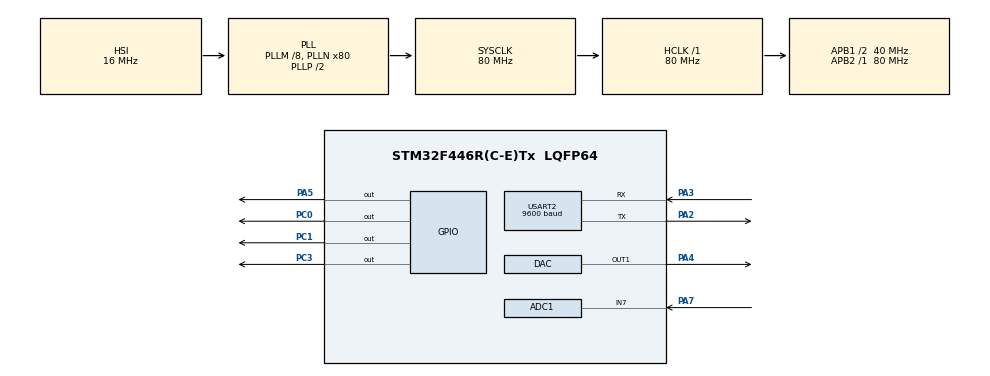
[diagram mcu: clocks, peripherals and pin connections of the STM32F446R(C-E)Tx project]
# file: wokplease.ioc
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ADC1.Channel-0\#ChannelRegularConversion=ADC_CHANNEL_7
ADC1.ExternalTrigConv=ADC_EXTERNALTRIGCONV_T3_TRGO
ADC1.NbrOfConversionFlag=1
ADC1.Rank-0\#ChannelRegularConversion=1
ADC1.SamplingTime-0\#ChannelRegularConversion=ADC_SAMPLETIME_3CYCLES
ADC1.master=1
DAC.DAC_Trigger=DAC_TRIGGER_T2_TRGO
Dma.DAC1.0.Direction=DMA_MEMORY_TO_PERIPH
Dma.DAC1.0.FIFOMode=DMA_FIFOMODE_DISABLE
Dma.DAC1.0.Instance=DMA1_Stream5
Dma.DAC1.0.MemDataAlignment=DMA_MDATAALIGN_WORD
Dma.DAC1.0.MemInc=DMA_MINC_DISABLE
Dma.DAC1.0.Mode=DMA_NORMAL
Dma.DAC1.0.PeriphDataAlignment=DMA_PDATAALIGN_WORD
Dma.DAC1.0.PeriphInc=DMA_PINC_DISABLE
Dma.DAC1.0.Priority=DMA_PRIORITY_HIGH
Dma.Request0=DAC1
Mcu.Family=STM32F4
Mcu.Name=STM32F446R(C-E)Tx
Mcu.Package=LQFP64
NVIC.ADC_IRQn=true\:0\:0\:false\:false\:true\:true\:true\:true
NVIC.DMA1_Stream5_IRQn=true\:0\:0\:false\:false\:true\:false\:true\:true
NVIC.PriorityGroup=NVIC_PRIORITYGROUP_4
PA13.Mode=Serial_Wire
PA13.Signal=SYS_JTMS-SWDIO
PA14.Mode=Serial_Wire
PA14.Signal=SYS_JTCK-SWCLK
PA2.Mode=Asynchronous
PA2.Signal=USART2_TX
PA3.Mode=Asynchronous
PA3.Signal=USART2_RX
PA4.Signal=COMP_DAC1_group
PA5.PinState=GPIO_PIN_RESET
PA5.Signal=GPIO_Output
PA7.Signal=ADCx_IN7
PC0.GPIO_PuPd=GPIO_NOPULL
PC0.Signal=GPIO_Output
PC1.Signal=GPIO_Output
PC3.Signal=GPIO_Output
ProjectManager.HeapSize=0x200
ProjectManager.StackSize=0x400
ProjectManager.TargetToolchain=STM32CubeIDE
RCC.AHBFreq_Value=80000000
RCC.APB1CLKDivider=RCC_HCLK_DIV2
RCC.APB1Freq_Value=40000000
RCC.APB1TimFreq_Value=80000000
RCC.APB2Freq_Value=80000000
RCC.APB2TimFreq_Value=80000000
RCC.CortexFreq_Value=80000000
RCC.HCLKFreq_Value=80000000
RCC.PLLM=8
RCC.PLLN=80
RCC.SYSCLKFreq_VALUE=80000000
RCC.SYSCLKSource=RCC_SYSCLKSOURCE_PLLCLK
RCC.USBFreq_Value=80000000
RCC.VCOOutputFreq_Value=160000000
SH.ADCx_IN7.0=ADC1_IN7,IN7
SH.COMP_DAC1_group.0=DAC_OUT1,DAC_OUT1
TIM2.Period=499
TIM2.TIM_MasterOutputTrigger=TIM_TRGO_UPDATE
TIM3.Period=499
TIM3.TIM_MasterOutputTrigger=TIM_TRGO_UPDATE
USART2.BaudRate=9600
USART2.VirtualMode=VM_ASYNC
VP_TIM2_VS_ClockSourceINT.Mode=Internal
VP_TIM3_VS_ClockSourceINT.Mode=Internal
board=custom

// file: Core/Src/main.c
/* USER CODE BEGIN Header */
/**
  ******************************************************************************
  * @file           : main.c
  * @brief          : Main program body
  ******************************************************************************
  * @attention
  *
  * Copyright (c) 2025 STMicroelectronics.
  * All rights reserved.
  *
  * This software is licensed under terms that can be found in the LICENSE file
  * in the root directory of this software component.
  * If no LICENSE file comes with this software, it is provided AS-IS.
  *
  ******************************************************************************
  */
/* USER CODE END Header */
#include "main.h"

/* USER CODE BEGIN Includes */
#include "math.h"
#include <string.h>
/* USER CODE END Includes */

/* USER CODE BEGIN PD */
#define MasSize 416
#define ADCIn (MasSize + 200)
/* USER CODE END PD */

ADC_HandleTypeDef hadc1;

DAC_HandleTypeDef hdac;
DMA_HandleTypeDef hdma_dac1;

TIM_HandleTypeDef htim2;
TIM_HandleTypeDef htim3;

UART_HandleTypeDef huart2;

/* USER CODE BEGIN PV */
const uint32_t Bark[MasSize] = {1736,2075,2400,2700,2964,3179,3340,3439,3472,3439,3340,3179,2964,2700,2400,2075,1736,1397,1072,772,508,293,132,33,0,33,132,293,508,772,1072,1397,1736,2075,2400,2700,2964,3179,3340,3439,3472,3439,3340,3179,2964,2700,2400,2075,1736,1397,1072,772,508,293,132,33,0,33,132,293,508,772,1072,1397,1736,2075,2400,2700,2964,3179,3340,3439,3472,3439,3340,3179,2964,2700,2400,2075,1736,1397,1072,772,508,293,132,33,0,33,132,293,508,772,1072,1397,1736,2075,2400,2700,2964,3179,3340,3439,3472,3439,3340,3179,2964,2700,2400,2075,1736,1397,1072,772,508,293,132,33,0,33,132,293,508,772,1072,1397,1736,2075,2400,2700,2964,3179,3340,3439,3472,3439,3340,3179,2964,2700,2400,2075,1736,1397,1072,772,508,293,132,33,0,33,132,293,508,772,1072,1397,1736,1397,1072,772,508,293,132,33,0,33,132,293,508,772,1072,1397,1736,2075,2400,2700,2964,3179,3340,3439,3472,3439,3340,3179,2964,2700,2400,2075,1736,1397,1072,772,508,293,132,33,0,33,132,293,508,772,1072,1397,1736,2075,2400,2700,2964,3179,3340,3439,3472,3439,3340,3179,2964,2700,2400,2075,1736,2075,2400,2700,2964,3179,3340,3439,3472,3439,3340,3179,2964,2700,2400,2075,1736,1397,1072,772,508,293,132,33,0,33,132,293,508,772,1072,1397,1736,2075,2400,2700,2964,3179,3340,3439,3472,3439,3340,3179,2964,2700,2400,2075,1736,1397,1072,772,508,293,132,33,0,33,132,293,508,772,1072,1397,1736,1397,1072,772,508,293,132,33,0,33,132,293,508,772,1072,1397,1736,2075,2400,2700,2964,3179,3340,3439,3472,3439,3340,3179,2964,2700,2400,2075,1736,2075,2400,2700,2964,3179,3340,3439,3472,3439,3340,3179,2964,2700,2400,2075,1736,1397,1072,772,508,293,132,33,0,33,132,293,508,772,1072,1397,1736,1397,1072,772,508,293,132,33,0,33,132,293,508,772,1072,1397,1736,2075,2400,2700,2964,3179,3340,3439,3472,3439,3340,3179,2964,2700,2400,2075,1736,2075,2400,2700,2964,3179,3340,3439,3472,3439,3340,3179,2964,2700,2400,2075,1736,1397,1072,772,508,293,132,33,0,33,132,293,508,772,1072,1397};

int32_t buff[ADCIn];
uint16_t num = 0;
volatile int32_t corr = 0;
volatile uint16_t distance = 0;
volatile uint8_t adcReady = 0;
uint8_t speakerNum = 0;
volatile uint16_t distances[3] = {0};
unsigned char a, buf[3];
unsigned char micdebug[4];
volatile int32_t debug1 = 0;
/* USER CODE END PV */

void SystemClock_Config(void);
static void MX_GPIO_Init(void);
static void MX_DMA_Init(void);
static void MX_ADC1_Init(void);
static void MX_DAC_Init(void);
static void MX_TIM2_Init(void);
static void MX_TIM3_Init(void);
static void MX_USART2_UART_Init(void);
/* USER CODE BEGIN PFP */
void autocorr(int32_t *mas1, const uint32_t *mas2);
int32_t calculateAverage(int32_t *mas1, int32_t length);
/* USER CODE END PFP */

int main(void)
{

  /* MCU Configuration--------------------------------------------------------*/

  /* Reset of all peripherals, Initializes the Flash interface and the Systick. */
  HAL_Init();

  /* Configure the system clock */
  SystemClock_Config();

  /* Initialize all configured peripherals */
  MX_GPIO_Init();
  MX_DMA_Init();
  MX_ADC1_Init();
  MX_DAC_Init();
  MX_TIM2_Init();
  MX_TIM3_Init();
  MX_USART2_UART_Init();
  /* USER CODE BEGIN 2 */
  // Включаем первый динамик
  HAL_GPIO_WritePin(GPIOC, GPIO_PIN_0, GPIO_PIN_SET);  // speaker 0
  HAL_GPIO_WritePin(GPIOC, GPIO_PIN_1, GPIO_PIN_RESET);
  HAL_GPIO_WritePin(GPIOC, GPIO_PIN_3, GPIO_PIN_RESET);
  HAL_Delay(1000);

  // Запускаем таймеры
  HAL_TIM_Base_Start(&htim2);
  HAL_TIM_Base_Start(&htim3);

  // Запускаем DAC с DMA
  HAL_DAC_Start_DMA(&hdac, DAC_CHANNEL_1, (uint32_t*)Bark, MasSize, DAC_ALIGN_12B_R);

  // Запускаем ADC с прерываниями
  HAL_ADC_Start_IT(&hadc1);

  /* USER CODE END 2 */

  /* Infinite loop */
  /* USER CODE BEGIN WHILE */
  while (1)
  {
	  if (adcReady)
	  {
	      adcReady = 0;

	      // Вычисление постоянной составляющей
	      int32_t mean = calculateAverage(buff, ADCIn);
	      for(uint16_t c = 0; c < ADCIn; c++)
	      {
	          buff[c] = buff[c] - mean;
	      }

	      // Взаимная корреляция
	      autocorr(buff, Bark);

	      distances[speakerNum] = distance;  // Записываем расстояние для текущего динамика
	      num = 0;

	      // ОТПРАВКА ДАННЫХ - ДО увеличения speakerNum
	      if (speakerNum == 2)
	      {
	          // Отправка всех трех расстояний
	          char output[50];
	          sprintf(output, "%d,%d,%d\r\n", distances[0], distances[1], distances[2]);
	          HAL_UART_Transmit(&huart2, (uint8_t*)output, strlen(output), 1000);

	          // СБРАСЫВАЕМ speakerNum после отправки всех трех измерений
	          speakerNum = 0;
	      }
	      else
	      {
	          // УВЕЛ�?Ч�?ВАЕМ speakerNum только если это не последний динамик
	          speakerNum++;
	      }

	      // Переключаем динамики (теперь speakerNum уже обновлен)
	      HAL_GPIO_WritePin(GPIOC, GPIO_PIN_0, GPIO_PIN_RESET);
	      HAL_GPIO_WritePin(GPIOC, GPIO_PIN_1, GPIO_PIN_RESET);
	      HAL_GPIO_WritePin(GPIOC, GPIO_PIN_3, GPIO_PIN_RESET);

	      switch(speakerNum)
	      {
	          case 0: HAL_GPIO_WritePin(GPIOC, GPIO_PIN_0, GPIO_PIN_SET); break;
	          case 1: HAL_GPIO_WritePin(GPIOC, GPIO_PIN_1, GPIO_PIN_SET); break;
	          case 2: HAL_GPIO_WritePin(GPIOC, GPIO_PIN_3, GPIO_PIN_SET); break;
	      }

	      // Переключаем светодиод
	      HAL_GPIO_TogglePin(GPIOA, GPIO_PIN_5);

	      // Перезапускаем DAC и ADC
	      HAL_DAC_Start_DMA(&hdac, DAC_CHANNEL_1, (uint32_t*)Bark, MasSize, DAC_ALIGN_12B_R);
	      HAL_ADC_Start_IT(&hadc1);
	  }
	     }
    /* USER CODE END WHILE */

  }
}

void SystemClock_Config(void)
{
  RCC_OscInitTypeDef RCC_OscInitStruct = {0};
  RCC_ClkInitTypeDef RCC_ClkInitStruct = {0};

  /** Configure the main internal regulator output voltage
  */
  __HAL_RCC_PWR_CLK_ENABLE();
  __HAL_PWR_VOLTAGESCALING_CONFIG(PWR_REGULATOR_VOLTAGE_SCALE3);

  /** Initializes the RCC Oscillators according to the specified parameters
  * in the RCC_OscInitTypeDef structure.
  */
  RCC_OscInitStruct.OscillatorType = RCC_OSCILLATORTYPE_HSI;
  RCC_OscInitStruct.HSIState = RCC_HSI_ON;
  RCC_OscInitStruct.HSICalibrationValue = RCC_HSICALIBRATION_DEFAULT;
  RCC_OscInitStruct.PLL.PLLState = RCC_PLL_ON;
  RCC_OscInitStruct.PLL.PLLSource = RCC_PLLSOURCE_HSI;
  RCC_OscInitStruct.PLL.PLLM = 8;
  RCC_OscInitStruct.PLL.PLLN = 80;
  RCC_OscInitStruct.PLL.PLLP = RCC_PLLP_DIV2;
  RCC_OscInitStruct.PLL.PLLQ = 2;
  RCC_OscInitStruct.PLL.PLLR = 2;
  if (HAL_RCC_OscConfig(&RCC_OscInitStruct) != HAL_OK)
  {
    Error_Handler();
  }

  /** Initializes the CPU, AHB and APB buses clocks
  */
  RCC_ClkInitStruct.ClockType = RCC_CLOCKTYPE_HCLK|RCC_CLOCKTYPE_SYSCLK
                              |RCC_CLOCKTYPE_PCLK1|RCC_CLOCKTYPE_PCLK2;
  RCC_ClkInitStruct.SYSCLKSource = RCC_SYSCLKSOURCE_PLLCLK;
  RCC_ClkInitStruct.AHBCLKDivider = RCC_SYSCLK_DIV1;
  RCC_ClkInitStruct.APB1CLKDivider = RCC_HCLK_DIV2;
  RCC_ClkInitStruct.APB2CLKDivider = RCC_HCLK_DIV1;

  if (HAL_RCC_ClockConfig(&RCC_ClkInitStruct, FLASH_LATENCY_2) != HAL_OK)
  {
    Error_Handler();
  }
}

static void MX_ADC1_Init(void)
{

  ADC_ChannelConfTypeDef sConfig = {0};

  /** Configure the global features of the ADC (Clock, Resolution, Data Alignment and number of conversion)
  */
  hadc1.Instance = ADC1;
  hadc1.Init.ClockPrescaler = ADC_CLOCK_SYNC_PCLK_DIV4;
  hadc1.Init.Resolution = ADC_RESOLUTION_12B;
  hadc1.Init.ScanConvMode = DISABLE;
  hadc1.Init.ContinuousConvMode = DISABLE;
  hadc1.Init.DiscontinuousConvMode = DISABLE;
  hadc1.Init.ExternalTrigConvEdge = ADC_EXTERNALTRIGCONVEDGE_RISING;
  hadc1.Init.ExternalTrigConv = ADC_EXTERNALTRIGCONV_T3_TRGO;
  hadc1.Init.DataAlign = ADC_DATAALIGN_RIGHT;
  hadc1.Init.NbrOfConversion = 1;
  hadc1.Init.DMAContinuousRequests = DISABLE;
  hadc1.Init.EOCSelection = ADC_EOC_SINGLE_CONV;
  if (HAL_ADC_Init(&hadc1) != HAL_OK)
  {
    Error_Handler();
  }

  /** Configure for the selected ADC regular channel its corresponding rank in the sequencer and its sample time.
  */
  sConfig.Channel = ADC_CHANNEL_7;
  sConfig.Rank = 1;
  sConfig.SamplingTime = ADC_SAMPLETIME_3CYCLES;
  if (HAL_ADC_ConfigChannel(&hadc1, &sConfig) != HAL_OK)
  {
    Error_Handler();
  }

}

static void MX_DAC_Init(void)
{

  DAC_ChannelConfTypeDef sConfig = {0};

  /** DAC Initialization
  */
  hdac.Instance = DAC;
  if (HAL_DAC_Init(&hdac) != HAL_OK)
  {
    Error_Handler();
  }

  /** DAC channel OUT1 config
  */
  sConfig.DAC_Trigger = DAC_TRIGGER_T2_TRGO;
  sConfig.DAC_OutputBuffer = DAC_OUTPUTBUFFER_ENABLE;
  if (HAL_DAC_ConfigChannel(&hdac, &sConfig, DAC_CHANNEL_1) != HAL_OK)
  {
    Error_Handler();
  }

}

static void MX_TIM2_Init(void)
{

  TIM_ClockConfigTypeDef sClockSourceConfig = {0};
  TIM_MasterConfigTypeDef sMasterConfig = {0};

  htim2.Instance = TIM2;
  htim2.Init.Prescaler = 0;
  htim2.Init.CounterMode = TIM_COUNTERMODE_UP;
  htim2.Init.Period = 499;
  htim2.Init.ClockDivision = TIM_CLOCKDIVISION_DIV1;
  htim2.Init.AutoReloadPreload = TIM_AUTORELOAD_PRELOAD_DISABLE;
  if (HAL_TIM_Base_Init(&htim2) != HAL_OK)
  {
    Error_Handler();
  }
  sClockSourceConfig.ClockSource = TIM_CLOCKSOURCE_INTERNAL;
  if (HAL_TIM_ConfigClockSource(&htim2, &sClockSourceConfig) != HAL_OK)
  {
    Error_Handler();
  }
  sMasterConfig.MasterOutputTrigger = TIM_TRGO_UPDATE;
  sMasterConfig.MasterSlaveMode = TIM_MASTERSLAVEMODE_DISABLE;
  if (HAL_TIMEx_MasterConfigSynchronization(&htim2, &sMasterConfig) != HAL_OK)
  {
    Error_Handler();
  }

}

static void MX_TIM3_Init(void)
{

  TIM_ClockConfigTypeDef sClockSourceConfig = {0};
  TIM_MasterConfigTypeDef sMasterConfig = {0};

  htim3.Instance = TIM3;
  htim3.Init.Prescaler = 0;
  htim3.Init.CounterMode = TIM_COUNTERMODE_UP;
  htim3.Init.Period = 499;
  htim3.Init.ClockDivision = TIM_CLOCKDIVISION_DIV1;
  htim3.Init.AutoReloadPreload = TIM_AUTORELOAD_PRELOAD_DISABLE;
  if (HAL_TIM_Base_Init(&htim3) != HAL_OK)
  {
    Error_Handler();
  }
  sClockSourceConfig.ClockSource = TIM_CLOCKSOURCE_INTERNAL;
  if (HAL_TIM_ConfigClockSource(&htim3, &sClockSourceConfig) != HAL_OK)
  {
    Error_Handler();
  }
  sMasterConfig.MasterOutputTrigger = TIM_TRGO_UPDATE;
  sMasterConfig.MasterSlaveMode = TIM_MASTERSLAVEMODE_DISABLE;
  if (HAL_TIMEx_MasterConfigSynchronization(&htim3, &sMasterConfig) != HAL_OK)
  {
    Error_Handler();
  }

}

static void MX_USART2_UART_Init(void)
{

  huart2.Instance = USART2;
  huart2.Init.BaudRate = 9600;
  huart2.Init.WordLength = UART_WORDLENGTH_8B;
  huart2.Init.StopBits = UART_STOPBITS_1;
  huart2.Init.Parity = UART_PARITY_NONE;
  huart2.Init.Mode = UART_MODE_TX_RX;
  huart2.Init.HwFlowCtl = UART_HWCONTROL_NONE;
  huart2.Init.OverSampling = UART_OVERSAMPLING_16;
  if (HAL_UART_Init(&huart2) != HAL_OK)
  {
    Error_Handler();
  }

}

static void MX_DMA_Init(void)
{

  /* DMA controller clock enable */
  __HAL_RCC_DMA1_CLK_ENABLE();

  /* DMA interrupt init */
  /* DMA1_Stream5_IRQn interrupt configuration */
  HAL_NVIC_SetPriority(DMA1_Stream5_IRQn, 0, 0);
  HAL_NVIC_EnableIRQ(DMA1_Stream5_IRQn);

}

static void MX_GPIO_Init(void)
{
  GPIO_InitTypeDef GPIO_InitStruct = {0};

  /* GPIO Ports Clock Enable */
  __HAL_RCC_GPIOC_CLK_ENABLE();
  __HAL_RCC_GPIOA_CLK_ENABLE();

  /*Configure GPIO pin Output Level */
  HAL_GPIO_WritePin(GPIOC, GPIO_PIN_0|GPIO_PIN_1|GPIO_PIN_3, GPIO_PIN_RESET);

  /*Configure GPIO pin Output Level */
  HAL_GPIO_WritePin(GPIOA, GPIO_PIN_5, GPIO_PIN_RESET);

  /*Configure GPIO pins : PC0 PC1 PC3 */
  GPIO_InitStruct.Pin = GPIO_PIN_0|GPIO_PIN_1|GPIO_PIN_3;
  GPIO_InitStruct.Mode = GPIO_MODE_OUTPUT_PP;
  GPIO_InitStruct.Pull = GPIO_NOPULL;
  GPIO_InitStruct.Speed = GPIO_SPEED_FREQ_LOW;
  HAL_GPIO_Init(GPIOC, &GPIO_InitStruct);

  /*Configure GPIO pin : PA5 */
  GPIO_InitStruct.Pin = GPIO_PIN_5;
  GPIO_InitStruct.Mode = GPIO_MODE_OUTPUT_PP;
  GPIO_InitStruct.Pull = GPIO_NOPULL;
  GPIO_InitStruct.Speed = GPIO_SPEED_FREQ_LOW;
  HAL_GPIO_Init(GPIOA, &GPIO_InitStruct);

}

/* USER CODE BEGIN 4 */
void autocorr(int32_t *mas1, const uint32_t *mas2)
{
    volatile int32_t maxcorr = 0;
    volatile int32_t ans = 0;

    for(uint16_t t = 0; t < ADCIn; t++)
    {
        volatile int32_t vnutr = 0;
        for(uint16_t i = 0; i < MasSize; i++)
        {
            uint16_t sdvig = i + t;
            if(sdvig < ADCIn)
            {
                vnutr = vnutr + (mas1[sdvig]) * ((int32_t)mas2[i] - 1736);
            }
        }
        corr = vnutr;
        if(corr > maxcorr)
        {
            maxcorr = corr;
            ans = t;
        }
    }
    distance = (ans * 33 + 8) / 16;  // округление вместо round()
}

int32_t calculateAverage(int32_t *mas1, int32_t length)
{
    int64_t sum = 0;
    for (int i = 0; i < length; i++)
    {
        sum += mas1[i];
    }
    return (int32_t)(sum / length);
}

void HAL_ADC_ConvCpltCallback(ADC_HandleTypeDef* hadc)
{
    if(hadc->Instance == ADC1)
    {
        if(num < ADCIn)
        {
            buff[num] = (int32_t)HAL_ADC_GetValue(&hadc1);
            num++;
        }
        else
        {
            // Выключаем все динамики при заполнении буфера
            HAL_GPIO_WritePin(GPIOC, GPIO_PIN_0, GPIO_PIN_RESET);
            HAL_GPIO_WritePin(GPIOC, GPIO_PIN_1, GPIO_PIN_RESET);
            HAL_GPIO_WritePin(GPIOC, GPIO_PIN_3, GPIO_PIN_RESET);

            HAL_ADC_Stop_IT(&hadc1);
            adcReady = 1;
        }
    }
}

// Опционально: обработчик ошибок DMA (если нужен)
void HAL_DAC_DMAUnderrunCallbackCh1(DAC_HandleTypeDef* hdac)
{
    // Перезапускаем DAC при ошибке
    HAL_DAC_Start_DMA(&hdac, DAC_CHANNEL_1, (uint32_t*)Bark, MasSize, DAC_ALIGN_12B_R);
}
/* USER CODE END 4 */

void Error_Handler(void)
{
  __disable_irq();
  while (1)
  {
  }
}
